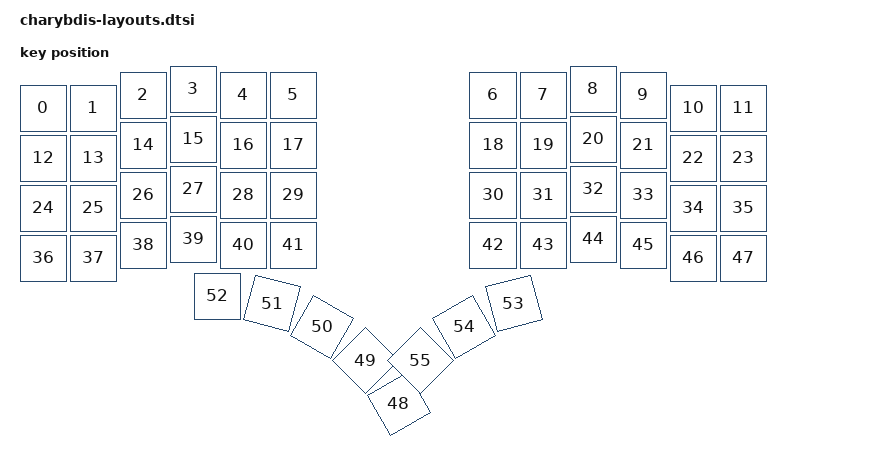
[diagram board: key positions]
#include <physical_layouts.dtsi>

/ {
    charybdis_physical_layout: charybdis_physical_layout {
        compatible = "zmk,physical-layout";
        display-name = "Charybdis 4x6";
        status = "okay";
        kscan = <&kscan0>;
        transform = <&default_transform>;

        keys
            // Number Row (pos 0-11) - same column stagger as alpha rows
            //                       w   h    x    y     rot    rx    ry
            = <&key_physical_attrs 100 100    0   38       0     0     0>
            , <&key_physical_attrs 100 100  100   38       0     0     0>
            , <&key_physical_attrs 100 100  200   12       0     0     0>
            , <&key_physical_attrs 100 100  300    0       0     0     0>
            , <&key_physical_attrs 100 100  400   12       0     0     0>
            , <&key_physical_attrs 100 100  500   12       0     0     0>
            , <&key_physical_attrs 100 100  900   12       0     0     0>
            , <&key_physical_attrs 100 100 1000   12       0     0     0>
            , <&key_physical_attrs 100 100 1100    0       0     0     0>
            , <&key_physical_attrs 100 100 1200   12       0     0     0>
            , <&key_physical_attrs 100 100 1300   38       0     0     0>
            , <&key_physical_attrs 100 100 1400   38       0     0     0>

            // Row 1 - Alpha Top (pos 12-23)
            //                       w   h    x    y     rot    rx    ry
            , <&key_physical_attrs 100 100    0  138       0     0     0>
            , <&key_physical_attrs 100 100  100  138       0     0     0>
            , <&key_physical_attrs 100 100  200  112       0     0     0>
            , <&key_physical_attrs 100 100  300  100       0     0     0>
            , <&key_physical_attrs 100 100  400  112       0     0     0>
            , <&key_physical_attrs 100 100  500  112       0     0     0>
            , <&key_physical_attrs 100 100  900  112       0     0     0>
            , <&key_physical_attrs 100 100 1000  112       0     0     0>
            , <&key_physical_attrs 100 100 1100  100       0     0     0>
            , <&key_physical_attrs 100 100 1200  112       0     0     0>
            , <&key_physical_attrs 100 100 1300  138       0     0     0>
            , <&key_physical_attrs 100 100 1400  138       0     0     0>

            // Row 2 - Alpha Home (pos 24-35)
            //                       w   h    x    y     rot    rx    ry
            , <&key_physical_attrs 100 100    0  238       0     0     0>
            , <&key_physical_attrs 100 100  100  238       0     0     0>
            , <&key_physical_attrs 100 100  200  212       0     0     0>
            , <&key_physical_attrs 100 100  300  200       0     0     0>
            , <&key_physical_attrs 100 100  400  212       0     0     0>
            , <&key_physical_attrs 100 100  500  212       0     0     0>
            , <&key_physical_attrs 100 100  900  212       0     0     0>
            , <&key_physical_attrs 100 100 1000  212       0     0     0>
            , <&key_physical_attrs 100 100 1100  200       0     0     0>
            , <&key_physical_attrs 100 100 1200  212       0     0     0>
            , <&key_physical_attrs 100 100 1300  238       0     0     0>
            , <&key_physical_attrs 100 100 1400  238       0     0     0>

            // Row 3 - Alpha Bottom (pos 36-47)
            //                       w   h    x    y     rot    rx    ry
            , <&key_physical_attrs 100 100    0  338       0     0     0>
            , <&key_physical_attrs 100 100  100  338       0     0     0>
            , <&key_physical_attrs 100 100  200  312       0     0     0>
            , <&key_physical_attrs 100 100  300  300       0     0     0>
            , <&key_physical_attrs 100 100  400  312       0     0     0>
            , <&key_physical_attrs 100 100  500  312       0     0     0>
            , <&key_physical_attrs 100 100  900  312       0     0     0>
            , <&key_physical_attrs 100 100 1000  312       0     0     0>
            , <&key_physical_attrs 100 100 1100  300       0     0     0>
            , <&key_physical_attrs 100 100 1200  312       0     0     0>
            , <&key_physical_attrs 100 100 1300  338       0     0     0>
            , <&key_physical_attrs 100 100 1400  338       0     0     0>

            // Left Thumb Cluster (pos 48-52, outermost to innermost)
            //                       w   h    x    y     rot    rx    ry
            , <&key_physical_attrs 100 100  348  420    6000   398   890>
            , <&key_physical_attrs 100 100  348  420    4500   398   890>
            , <&key_physical_attrs 100 100  348  420    3000   398   890>
            , <&key_physical_attrs 100 100  348  414    1500   398   890>
            , <&key_physical_attrs 100 100  348  414       0     0     0>

            // Right Thumb Cluster (pos 53-55, innermost to outermost)
            //                       w   h    x    y     rot    rx    ry
            , <&key_physical_attrs 100 100 1052  414 (-1500)  1102   890>
            , <&key_physical_attrs 100 100 1052  420 (-3000)  1102   890>
            , <&key_physical_attrs 100 100 1052  420 (-4500)  1102   890>
            ;
    };
};

